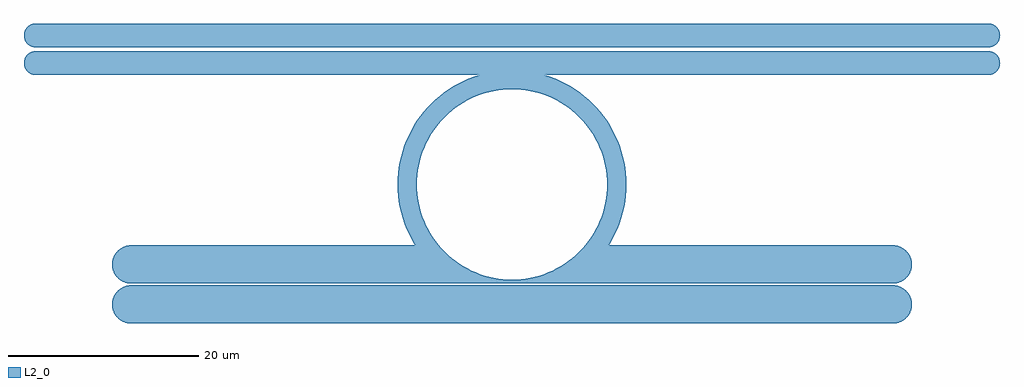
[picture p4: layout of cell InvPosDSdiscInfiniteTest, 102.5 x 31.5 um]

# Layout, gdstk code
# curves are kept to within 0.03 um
import gdstk
lib = gdstk.Library(unit=1e-6, precision=1e-09)
def R(c, l, rs):  # rectangles x0, y0, x1, y1
    for r in rs: c.add(gdstk.rectangle(r[:2], r[2:], *l))
def P(c, l, *ps):  # polygons
    for p in ps: c.add(gdstk.Polygon(p, *l))
L2_0 = (2, 0)

invposdsdiscinfinitetest = lib.new_cell('InvPosDSdiscInfiniteTest')
R(invposdsdiscinfinitetest, L2_0, [(-40,-14.6,40,-10.6), (-50,14.4,50,16.9)])
P(invposdsdiscinfinitetest, L2_0, [(-40,-10.4),(-40,-6.4),(-10.147,-6.4),(-10.848,-5.131),(-11.299,-4.043),(-11.769,-2.341),(-11.942,-1.176),(-11.986,0.589),(-11.87,1.761),(-11.64,2.916),(-11.299,4.043),(-10.848,5.131),(-9.978,6.667),(-9.276,7.613),(-8.059,8.891),(-6.667,9.978),(-5.657,10.583),(-4.592,11.087),(-3.423,11.5),(-50,11.5),(-50,14),(50,14),(50,11.5),(3.423,11.5),(4.043,11.299),(5.131,10.848),(6.667,9.978),(8.059,8.891),(8.891,8.059),(9.638,7.148),(10.583,5.657),(11.299,4.043),(11.64,2.916),(11.87,1.761),(12,0),(10,0),(9.952,0.98),(9.808,1.951),(9.569,2.903),(9.239,3.827),(8.819,4.714),(8.315,5.556),(7.73,6.344),(7.071,7.071),(5.957,8.032),(4.714,8.819),(3.369,9.415),(1.951,9.808),(0.491,9.988),(-0.491,9.988),(-1.467,9.892),(-2.903,9.569),(-3.827,9.239),(-4.714,8.819),(-5.957,8.032),(-6.716,7.41),(-7.41,6.716),(-8.315,5.556),(-8.819,4.714),(-9.239,3.827),(-9.7,2.43),(-9.892,1.467),(-9.988,0.491),(-9.988,-0.491),(-9.892,-1.467),(-9.7,-2.43),(-9.415,-3.369),(-9.04,-4.276),(-8.577,-5.141),(-8.032,-5.957),(-7.41,-6.716),(-6.716,-7.41),(-5.556,-8.315),(-4.714,-8.819),(-3.827,-9.239),(-2.903,-9.569),(-1.951,-9.808),(-0.98,-9.952),(0.491,-9.988),(1.467,-9.892),(2.43,-9.7),(3.827,-9.239),(4.714,-8.819),(5.556,-8.315),(6.716,-7.41),(7.41,-6.716),(8.315,-5.556),(8.819,-4.714),(9.239,-3.827),(9.7,-2.43),(9.892,-1.467),(10,0),(12,0),(11.87,-1.761),(11.483,-3.483),(10.848,-5.131),(10.147,-6.4),(40,-6.4),(40,-10.4)],
  [(50,14.4),(50,16.9),(50.487,16.802),(50.884,16.534),(51.152,16.137),(51.25,15.65),(51.152,15.163),(50.884,14.766),(50.487,14.498)],
  [(-50,14.4),(-50.487,14.498),(-50.884,14.766),(-51.152,15.163),(-51.25,15.65),(-51.152,16.137),(-50.884,16.534),(-50.487,16.802),(-50,16.9)],
  [(50,11.5),(50,14),(50.487,13.902),(50.884,13.634),(51.152,13.237),(51.25,12.75),(51.152,12.263),(50.884,11.866),(50.487,11.598)],
  [(-50,11.5),(-50.487,11.598),(-50.884,11.866),(-51.152,12.263),(-51.25,12.75),(-51.152,13.237),(-50.884,13.634),(-50.487,13.902),(-50,14)],
  [(40,-10.4),(40,-6.4),(40.403,-6.441),(40.778,-6.557),(41.118,-6.742),(41.414,-6.986),(41.658,-7.282),(41.843,-7.622),(41.959,-7.997),(42,-8.4),(41.959,-8.803),(41.843,-9.178),(41.658,-9.518),(41.414,-9.814),(41.118,-10.058),(40.778,-10.243),(40.403,-10.359)],
  [(-40,-10.4),(-40.403,-10.359),(-40.778,-10.243),(-41.118,-10.058),(-41.414,-9.814),(-41.658,-9.518),(-41.843,-9.178),(-41.959,-8.803),(-42,-8.4),(-41.959,-7.997),(-41.843,-7.622),(-41.658,-7.282),(-41.414,-6.986),(-41.118,-6.742),(-40.778,-6.557),(-40.403,-6.441),(-40,-6.4)],
  [(40,-14.6),(40,-10.6),(40.403,-10.641),(40.778,-10.757),(41.118,-10.942),(41.414,-11.186),(41.658,-11.482),(41.843,-11.822),(41.959,-12.197),(42,-12.6),(41.959,-13.003),(41.843,-13.378),(41.658,-13.718),(41.414,-14.014),(41.118,-14.258),(40.778,-14.443),(40.403,-14.559)],
  [(-40,-14.6),(-40.403,-14.559),(-40.778,-14.443),(-41.118,-14.258),(-41.414,-14.014),(-41.658,-13.718),(-41.843,-13.378),(-41.959,-13.003),(-42,-12.6),(-41.959,-12.197),(-41.843,-11.822),(-41.658,-11.482),(-41.414,-11.186),(-41.118,-10.942),(-40.778,-10.757),(-40.403,-10.641),(-40,-10.6)])

lib.write_gds('InvPosDSdiscInfiniteTest.gds')
